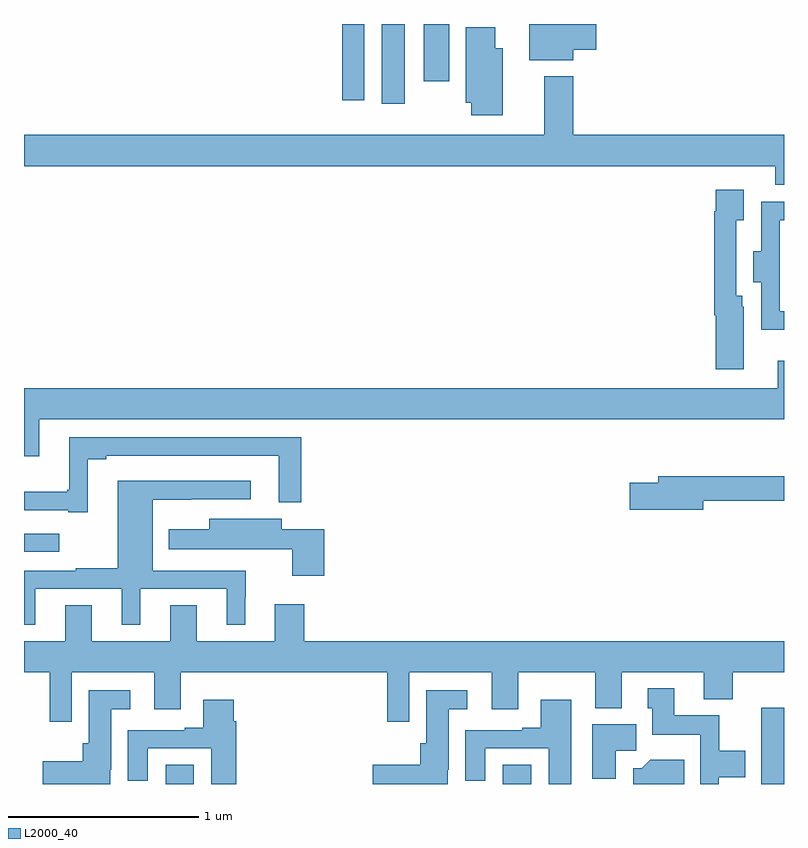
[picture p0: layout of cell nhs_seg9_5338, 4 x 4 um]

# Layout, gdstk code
import gdstk
lib = gdstk.Library(unit=1e-6, precision=1e-09)
def R(c, l, rs):  # rectangles x0, y0, x1, y1
    for r in rs: c.add(gdstk.rectangle(r[:2], r[2:], *l))
def P(c, l, *ps):  # polygons
    for p in ps: c.add(gdstk.Polygon(p, *l))
L2000_40 = (2000, 40)

nhs_seg9_5338 = lib.new_cell('nhs_seg9_5338')
R(nhs_seg9_5338, L2000_40, [(421.745,1194.5,421.894,1194.602), (423.521,1194.5,423.67,1194.602), (424.88,1194.5,425,1194.901), (421,1195.722,421.186,1195.818), (422.882,1198.08,423.004,1198.5), (422.674,1198.098,422.79,1198.5), (423.104,1198.2,423.238,1198.5)])
P(nhs_seg9_5338, L2000_40, [(423.892,1198.364),(424.012,1198.364),(424.012,1198.5),(423.659,1198.5),(423.659,1198.31),(423.892,1198.31)],
  [(423.52,1198.372),(423.481,1198.372),(423.481,1198.483),(423.326,1198.483),(423.326,1198.085),(423.355,1198.085),(423.355,1198.02),(423.52,1198.02)],
  [(425,1197.916),(423.89,1197.916),(423.89,1198.225),(423.737,1198.225),(423.737,1197.916),(421,1197.916),(421,1197.752),(424.955,1197.752),(424.955,1197.654),(425,1197.654)],
  [(424.789,1197.012),(424.78,1197.012),(424.78,1197.07),(424.749,1197.07),(424.749,1197.467),(424.789,1197.467),(424.789,1197.628),(424.641,1197.628),(424.641,1197.515),(424.633,1197.515),(424.633,1196.966),(424.64,1196.966),(424.64,1196.682),(424.789,1196.682)],
  [(425,1196.988),(424.977,1196.988),(424.977,1197.468),(425,1197.468),(425,1197.564),(424.88,1197.564),(424.88,1197.304),(424.838,1197.304),(424.838,1197.14),(424.881,1197.14),(424.881,1196.891),(425,1196.891)],
  [(421.081,1196.42),(425,1196.42),(425,1196.728),(424.967,1196.728),(424.967,1196.584),(421,1196.584),(421,1196.226),(421.081,1196.226)],
  [(421.336,1196.209),(421.432,1196.209),(421.432,1196.228),(422.342,1196.228),(422.342,1195.982),(422.459,1195.982),(422.459,1196.325),(421.238,1196.325),(421.238,1196.05),(421.227,1196.05),(421.227,1196.039),(421,1196.039),(421,1195.941),(421.232,1195.941),(421.232,1195.929),(421.336,1195.929)],
  [(424.576,1195.99),(425,1195.99),(425,1196.119),(424.337,1196.119),(424.337,1196.085),(424.188,1196.085),(424.188,1195.943),(424.576,1195.943)],
  [(421.06,1195.527),(421.514,1195.527),(421.514,1195.337),(421.612,1195.337),(421.612,1195.527),(422.066,1195.527),(422.066,1195.337),(422.164,1195.337),(422.164,1195.484),(422.166,1195.484),(422.166,1195.623),(421.678,1195.623),(421.678,1195.997),(421.88,1195.997),(421.88,1195.998),(422.194,1195.998),(422.194,1196.095),(421.493,1196.095),(421.493,1195.636),(421.273,1195.636),(421.273,1195.623),(421,1195.623),(421,1195.337),(421.06,1195.337)],
  [(422.579,1195.84),(422.356,1195.84),(422.356,1195.897),(421.976,1195.897),(421.976,1195.84),(421.763,1195.84),(421.763,1195.736),(422.411,1195.736),(422.411,1195.596),(422.579,1195.596)],
  [(421.251,1195.088),(421.685,1195.088),(421.685,1194.894),(421.825,1194.894),(421.825,1195.088),(422.911,1195.088),(422.911,1194.828),(423.027,1194.828),(423.027,1195.088),(423.461,1195.088),(423.461,1194.894),(423.601,1194.894),(423.601,1195.088),(424.007,1195.088),(424.007,1194.899),(424.147,1194.899),(424.147,1195.088),(424.577,1195.088),(424.577,1194.947),(424.73,1194.947),(424.73,1195.088),(425,1195.088),(425,1195.252),(422.474,1195.252),(422.474,1195.447),(422.321,1195.447),(422.321,1195.252),(421.909,1195.252),(421.909,1195.442),(421.769,1195.442),(421.769,1195.252),(421.357,1195.252),(421.357,1195.442),(421.217,1195.442),(421.217,1195.252),(421,1195.252),(421,1195.088),(421.135,1195.088),(421.135,1194.828),(421.251,1194.828)],
  [(424.656,1194.536),(424.795,1194.536),(424.795,1194.676),(424.659,1194.676),(424.659,1194.862),(424.423,1194.862),(424.423,1195.003),(424.283,1195.003),(424.283,1194.9),(424.307,1194.9),(424.307,1194.758),(424.56,1194.758),(424.56,1194.5),(424.656,1194.5)],
  [(423.231,1194.574),(423.235,1194.574),(423.235,1194.893),(423.334,1194.893),(423.334,1194.994),(423.116,1194.994),(423.116,1194.714),(423.086,1194.714),(423.086,1194.601),(422.835,1194.601),(422.835,1194.5),(423.231,1194.5)],
  [(421.455,1194.574),(421.459,1194.574),(421.459,1194.893),(421.558,1194.893),(421.558,1194.994),(421.34,1194.994),(421.34,1194.714),(421.31,1194.714),(421.31,1194.619),(421.098,1194.619),(421.098,1194.5),(421.455,1194.5)],
  [(423.88,1194.943),(423.719,1194.943),(423.719,1194.796),(423.623,1194.796),(423.623,1194.783),(423.323,1194.783),(423.323,1194.516),(423.427,1194.516),(423.427,1194.687),(423.761,1194.687),(423.761,1194.5),(423.88,1194.5)],
  [(422.117,1194.83),(422.104,1194.83),(422.104,1194.943),(421.943,1194.943),(421.943,1194.796),(421.847,1194.796),(421.847,1194.783),(421.547,1194.783),(421.547,1194.516),(421.651,1194.516),(421.651,1194.687),(421.985,1194.687),(421.985,1194.5),(422.117,1194.5)],
  [(424.114,1194.675),(424.222,1194.675),(424.222,1194.814),(423.992,1194.814),(423.992,1194.528),(424.114,1194.528)],
  [(424.475,1194.628),(424.297,1194.628),(424.252,1194.583),(424.207,1194.583),(424.207,1194.5),(424.475,1194.5)])

lib.write_gds('nhs_seg9_5338.gds')
